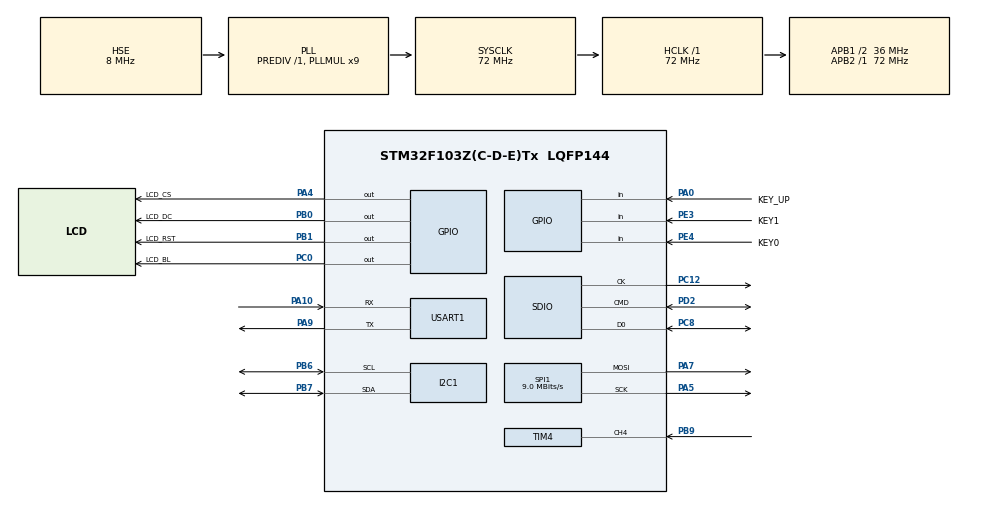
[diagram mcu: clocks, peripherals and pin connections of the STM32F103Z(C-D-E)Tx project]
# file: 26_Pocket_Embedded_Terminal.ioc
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FATFS._FS_REENTRANT=0
FREERTOS.Queues01=motion_queue,32,20,1,Dynamic,NULL,NULL
FREERTOS.Tasks01=ui_task,24,256,UI_Task,Default,NULL,Dynamic,NULL,NULL;sensor_task,24,256,Sensor_Task,Default,NULL,Dynamic,NULL,NULL;logger_task,32,512,Logger_Task,Default,NULL,Dynamic,NULL,NULL
FREERTOS.configTOTAL_HEAP_SIZE=8192
I2C1.I2C_Mode=I2C_Fast
Mcu.Family=STM32F1
Mcu.Name=STM32F103Z(C-D-E)Tx
Mcu.Package=LQFP144
NVIC.PriorityGroup=NVIC_PRIORITYGROUP_4
NVIC.TIM4_IRQn=true\:5\:0\:false\:false\:true\:true\:true\:true\:true
NVIC.TIM6_IRQn=true\:15\:0\:false\:false\:true\:false\:false\:true\:true
NVIC.TimeBase=TIM6_IRQn
NVIC.TimeBaseIP=TIM6
OSC_IN.Mode=HSE-External-Oscillator
OSC_IN.Signal=RCC_OSC_IN
OSC_OUT.Mode=HSE-External-Oscillator
OSC_OUT.Signal=RCC_OSC_OUT
PA0-WKUP.GPIO_Label=KEY_UP
PA0-WKUP.GPIO_PuPd=GPIO_PULLDOWN
PA0-WKUP.Signal=GPIO_Input
PA10.Mode=Asynchronous
PA10.Signal=USART1_RX
PA13.Mode=Serial_Wire
PA13.Signal=SYS_JTMS-SWDIO
PA14.Mode=Serial_Wire
PA14.Signal=SYS_JTCK-SWCLK
PA4.GPIO_Label=LCD_CS
PA4.PinState=GPIO_PIN_SET
PA4.Signal=GPIO_Output
PA5.Mode=TX_Only_Simplex_Unidirect_Master
PA5.Signal=SPI1_SCK
PA7.Mode=TX_Only_Simplex_Unidirect_Master
PA7.Signal=SPI1_MOSI
PA9.Mode=Asynchronous
PA9.Signal=USART1_TX
PB0.GPIO_Label=LCD_DC
PB0.PinState=GPIO_PIN_SET
PB0.Signal=GPIO_Output
PB1.GPIO_Label=LCD_RST
PB1.PinState=GPIO_PIN_SET
PB1.Signal=GPIO_Output
PB6.Mode=I2C
PB6.Signal=I2C1_SCL
PB7.Mode=I2C
PB7.Signal=I2C1_SDA
PB9.Signal=S_TIM4_CH4
PC0.GPIO_Label=LCD_BL
PC0.Signal=GPIO_Output
PC12.Mode=SD_1_bit
PC12.Signal=SDIO_CK
PC14-OSC32_IN.Mode=LSE-External-Oscillator
PC14-OSC32_IN.Signal=RCC_OSC32_IN
PC15-OSC32_OUT.Mode=LSE-External-Oscillator
PC15-OSC32_OUT.Signal=RCC_OSC32_OUT
PC8.Mode=SD_1_bit
PC8.Signal=SDIO_D0
PD2.Mode=SD_1_bit
PD2.Signal=SDIO_CMD
PE3.GPIO_Label=KEY1
PE3.GPIO_PuPd=GPIO_PULLUP
PE3.Signal=GPIO_Input
PE4.GPIO_Label=KEY0
PE4.GPIO_PuPd=GPIO_PULLUP
PE4.Signal=GPIO_Input
ProjectManager.HeapSize=0x200
ProjectManager.StackSize=0x400
ProjectManager.TargetToolchain=STM32CubeIDE
RCC.AHBFreq_Value=72000000
RCC.APB1CLKDivider=RCC_HCLK_DIV2
RCC.APB1Freq_Value=36000000
RCC.APB1TimFreq_Value=72000000
RCC.APB2Freq_Value=72000000
RCC.APB2TimFreq_Value=72000000
RCC.HCLKFreq_Value=72000000
RCC.PLLMUL=RCC_PLL_MUL9
RCC.PLLSourceVirtual=RCC_PLLSOURCE_HSE
RCC.RTCClockSelection=RCC_RTCCLKSOURCE_LSE
RCC.SYSCLKFreq_VALUE=72000000
RCC.SYSCLKSource=RCC_SYSCLKSOURCE_PLLCLK
RCC.USBFreq_Value=72000000
RTC.Date=5
RTC.Format=RTC_FORMAT_BIN
RTC.Hours=17
RTC.Minutes=10
RTC.Month=RTC_MONTH_SEPTEMBER
RTC.WeekDay=RTC_WEEKDAY_SATURDAY
RTC.Year=26
SDIO.ClockDiv=12
SH.S_TIM4_CH4.0=TIM4_CH4,Input_Capture4_from_TI4
SPI1.BaudRatePrescaler=SPI_BAUDRATEPRESCALER_8
SPI1.CalculateBaudRate=9.0 MBits/s
SPI1.Direction=SPI_DIRECTION_2LINES
SPI1.Mode=SPI_MODE_MASTER
SPI1.VirtualType=VM_MASTER
TIM4.Channel-Input_Capture4_from_TI4=TIM_CHANNEL_4
TIM4.ICFilter_CH4=3
TIM4.Period=9999
TIM4.Prescaler=71
USART1.VirtualMode=VM_ASYNC
VP_FATFS_VS_SDIO.Mode=SDIO
VP_FREERTOS_VS_CMSIS_V2.Mode=CMSIS_V2
VP_RTC_VS_RTC_Activate.Mode=RTC_Enabled
VP_RTC_VS_RTC_Calendar.Mode=RTC_Calendar
VP_SYS_VS_tim6.Mode=TIM6
VP_TIM4_VS_ClockSourceINT.Mode=Internal
board=custom

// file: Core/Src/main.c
/* USER CODE BEGIN Header */
/**
  ******************************************************************************
  * @file           : main.c
  * @brief          : Main program body
  ******************************************************************************
  * @attention
  *
  * Copyright (c) 2026 STMicroelectronics.
  * All rights reserved.
  *
  * This software is licensed under terms that can be found in the LICENSE file
  * in the root directory of this software component.
  * If no LICENSE file comes with this software, it is provided AS-IS.
  *
  ******************************************************************************
  */
/* USER CODE END Header */
#include "main.h"
#include "cmsis_os.h"
#include "fatfs.h"
#include "i2c.h"
#include "rtc.h"
#include "sdio.h"
#include "spi.h"
#include "tim.h"
#include "usart.h"
#include "gpio.h"

/* USER CODE BEGIN Includes */
#include "st7735.h"
#include "ui.h"
#include "storage.h"
#include "mpu6500.h"
#include "remote.h"

#include <stdio.h>
#include <string.h>
/* USER CODE END Includes */

void SystemClock_Config(void);
void MX_FREERTOS_Init(void);

int main(void)
{

  /* MCU Configuration--------------------------------------------------------*/

  /* Reset of all peripherals, Initializes the Flash interface and the Systick. */
  HAL_Init();

  /* Configure the system clock */
  SystemClock_Config();

  /* Initialize all configured peripherals */
  MX_GPIO_Init();
  MX_USART1_UART_Init();
  MX_SPI1_Init();
  MX_RTC_Init();
  MX_SDIO_SD_Init();
  MX_FATFS_Init();
  MX_I2C1_Init();
  MX_TIM4_Init();
  /* USER CODE BEGIN 2 */

	ST7735_Init();

	Remote_Init();

  /* USER CODE END 2 */

  /* Init scheduler */
  osKernelInitialize();

  /* Call init function for freertos objects (in cmsis_os2.c) */
  MX_FREERTOS_Init();

  /* Start scheduler */
  osKernelStart();

  /* We should never get here as control is now taken by the scheduler */

  /* Infinite loop */
  while (1)
  {

  }
}

void SystemClock_Config(void)
{
  RCC_OscInitTypeDef RCC_OscInitStruct = {0};
  RCC_ClkInitTypeDef RCC_ClkInitStruct = {0};
  RCC_PeriphCLKInitTypeDef PeriphClkInit = {0};

  /** Initializes the RCC Oscillators according to the specified parameters
  * in the RCC_OscInitTypeDef structure.
  */
  RCC_OscInitStruct.OscillatorType = RCC_OSCILLATORTYPE_HSE|RCC_OSCILLATORTYPE_LSE;
  RCC_OscInitStruct.HSEState = RCC_HSE_ON;
  RCC_OscInitStruct.HSEPredivValue = RCC_HSE_PREDIV_DIV1;
  RCC_OscInitStruct.LSEState = RCC_LSE_ON;
  RCC_OscInitStruct.HSIState = RCC_HSI_ON;
  RCC_OscInitStruct.PLL.PLLState = RCC_PLL_ON;
  RCC_OscInitStruct.PLL.PLLSource = RCC_PLLSOURCE_HSE;
  RCC_OscInitStruct.PLL.PLLMUL = RCC_PLL_MUL9;
  if (HAL_RCC_OscConfig(&RCC_OscInitStruct) != HAL_OK)
  {
    Error_Handler();
  }

  /** Initializes the CPU, AHB and APB buses clocks
  */
  RCC_ClkInitStruct.ClockType = RCC_CLOCKTYPE_HCLK|RCC_CLOCKTYPE_SYSCLK
                              |RCC_CLOCKTYPE_PCLK1|RCC_CLOCKTYPE_PCLK2;
  RCC_ClkInitStruct.SYSCLKSource = RCC_SYSCLKSOURCE_PLLCLK;
  RCC_ClkInitStruct.AHBCLKDivider = RCC_SYSCLK_DIV1;
  RCC_ClkInitStruct.APB1CLKDivider = RCC_HCLK_DIV2;
  RCC_ClkInitStruct.APB2CLKDivider = RCC_HCLK_DIV1;

  if (HAL_RCC_ClockConfig(&RCC_ClkInitStruct, FLASH_LATENCY_2) != HAL_OK)
  {
    Error_Handler();
  }
  PeriphClkInit.PeriphClockSelection = RCC_PERIPHCLK_RTC;
  PeriphClkInit.RTCClockSelection = RCC_RTCCLKSOURCE_LSE;
  if (HAL_RCCEx_PeriphCLKConfig(&PeriphClkInit) != HAL_OK)
  {
    Error_Handler();
  }
}

void HAL_TIM_PeriodElapsedCallback(TIM_HandleTypeDef *htim)
{
  if (htim->Instance == TIM6)
  {
    HAL_IncTick();
  }
  else if(htim->Instance == TIM4)
  {
      Remote_Handle_Timeout();
  }
}

void Error_Handler(void)
{
  __disable_irq();
  while (1)
  {
  }
}

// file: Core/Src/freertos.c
/* USER CODE BEGIN Header */
/**
  ******************************************************************************
  * File Name          : freertos.c
  * Description        : Code for freertos applications
  ******************************************************************************
  * @attention
  *
  * Copyright (c) 2026 STMicroelectronics.
  * All rights reserved.
  *
  * This software is licensed under terms that can be found in the LICENSE file
  * in the root directory of this software component.
  * If no LICENSE file comes with this software, it is provided AS-IS.
  *
  ******************************************************************************
  */
/* USER CODE END Header */

#include "FreeRTOS.h"
#include "task.h"
#include "main.h"
#include "cmsis_os.h"

/* USER CODE BEGIN Includes */
/* 应用层模块：UI 负责交互，Sensor 产生样本，Logger 消费样本并写入 SD 卡 */
#include "ui.h"
#include "key.h"
#include "stopwatch.h"
#include "sensor.h"
#include "logger.h"
#include "storage.h"
#include "remote.h"
#include "game.h"
#include "settings.h"
#include "rtc.h"
/* USER CODE END Includes */

/* Definitions for ui_task */
osThreadId_t ui_taskHandle;
const osThreadAttr_t ui_task_attributes = {
  .name = "ui_task",
  .stack_size = 256 * 4,
  .priority = (osPriority_t) osPriorityNormal,
};
/* Definitions for sensor_task */
osThreadId_t sensor_taskHandle;
const osThreadAttr_t sensor_task_attributes = {
  .name = "sensor_task",
  .stack_size = 256 * 4,
  .priority = (osPriority_t) osPriorityNormal,
};
/* Definitions for logger_task */
osThreadId_t logger_taskHandle;
const osThreadAttr_t logger_task_attributes = {
  .name = "logger_task",
  .stack_size = 512 * 4,
  .priority = (osPriority_t) osPriorityAboveNormal,
};
/* Definitions for motion_queue */
osMessageQueueId_t motion_queueHandle;
const osMessageQueueAttr_t motion_queue_attributes = {
  .name = "motion_queue"
};

void UI_Task(void *argument);
void Sensor_Task(void *argument);
void Logger_Task(void *argument);

void MX_FREERTOS_Init(void); /* (MISRA C 2004 rule 8.1) */

void MX_FREERTOS_Init(void) {

  /*
   * Sensor_Task 以 100 Hz 产生 motion_sample_t，Logger_Task 异步消费。
   * 队列承接短时间 SD 卡写入造成的延迟，避免 Sensor_Task 被文件系统阻塞。
   */
  /* Create the queue(s) */
  /* creation of motion_queue */
  motion_queueHandle = osMessageQueueNew (32, 20, &motion_queue_attributes);

  /*
   * 三个任务的职责和优先级：
   * UI_Task     ：人机输入、页面绘制和周期更新
   * Sensor_Task ：固定 10 ms 采样
   * Logger_Task ：AboveNormal，及时清空样本队列并独占 FatFs 写入
   */
  /* Create the thread(s) */
  /* creation of ui_task */
  ui_taskHandle = osThreadNew(UI_Task, NULL, &ui_task_attributes);

  /* creation of sensor_task */
  sensor_taskHandle = osThreadNew(Sensor_Task, NULL, &sensor_task_attributes);

  /* creation of logger_task */
  logger_taskHandle = osThreadNew(Logger_Task, NULL, &logger_task_attributes);

}

void UI_Task(void *argument)
{
  /* USER CODE BEGIN UI_Task */

	uint32_t last_clock_tick = 0;
	uint32_t next_repeat_tick = 0;
	ui_action_t held_action = UI_ACTION_NONE;

	uint8_t remote_command;

	uint32_t last_game_tick = 0;
	uint32_t last_rtc_service_tick = 0;

	/* UI 状态只由 UI_Task 修改，其他任务不直接操作页面或显示器 */
	ui_state_t state = {
			.page = UI_PAGE_LAUNCHER,
			.selected_index = 0,
			.first_visible = 0
	};

	ui_state_t previous_state;

	/* 设置为 RAM 内 V1 状态，上电恢复默认速度 */
	Settings_Init();

	UI_Draw(&state);

	/* Infinite loop */
	for(;;)
	{
		ui_action_t current_action;
		ui_action_t action_to_handle = UI_ACTION_NONE;

		/*
		 * 输入优先级：先取红外 ISR 已解码的单次命令；
		 * 没有遥控命令时才扫描实体按键，避免同一轮处理两个动作。
		 */
		remote_command = Remote_Pop_Command();

		if(remote_command != 0)
		{
		    held_action = UI_ACTION_NONE;

		    switch(remote_command)
		    {
		        case 0x46:
		            action_to_handle = UI_ACTION_UP;
		            break;

		        case 0x15:
		            action_to_handle = UI_ACTION_DOWN;
		            break;

		        case 0x40:
		            action_to_handle = UI_ACTION_ENTER;
		            break;

		        case 0x44:
		        	action_to_handle = UI_ACTION_LEFT;
		        	break;

		        case 0x43:
		        	action_to_handle = UI_ACTION_RIGHT;
		        	break;

		        case 0x45:
		        	action_to_handle = UI_ACTION_BACK;
		        	break;

		        default:
		            action_to_handle = UI_ACTION_NONE;
		            break;
		    }
		}
		else
		{
			/* 实体按键：首次按下延时 20 ms 确认，方向键支持长按重复，ENTER 不重复 */
			current_action = Key_Read_Action();

			if(current_action == UI_ACTION_NONE)
			{
				held_action = UI_ACTION_NONE;
			}
			else if(held_action == UI_ACTION_NONE)
			{
				osDelay(20);

				if(Key_Read_Action() == current_action)
				{
					held_action = current_action;
					next_repeat_tick = osKernelGetTickCount() + 400;
					action_to_handle = current_action;
				}
			}
			else if(current_action != held_action)
			{
				held_action = UI_ACTION_NONE;
			}
			else if(current_action != UI_ACTION_ENTER &&
					(int32_t)(osKernelGetTickCount() - next_repeat_tick) >= 0)
			{
				next_repeat_tick = osKernelGetTickCount() + 150;
				action_to_handle = current_action;
			}

		}

		/*
		 * UI_Handle_Action 只修改 state 或应用模块状态；
		 * 返回 1 表示状态已变化，随后按页面和操作类型选择全量或局部刷新。
		 */
		if(action_to_handle != UI_ACTION_NONE)
		{
			previous_state = state;

			if(UI_Handle_Action(&state, action_to_handle) != 0)
			{
				UI_Draw_State_Change(&previous_state, &state, action_to_handle);
			}

			last_clock_tick = osKernelGetTickCount();

			if(previous_state.page != UI_PAGE_GAME && state.page == UI_PAGE_GAME)
			{
				last_game_tick = osKernelGetTickCount();
			}
		}

		/*
		 * STM32F1 的日期由 HAL 软件维护，必须定期读取以推进跨天日期。
		 * 该维护独立于 Clock 页面，避免在其他页面跨天后复位丢失新日期。
		 */
		if(osKernelGetTickCount() - last_rtc_service_tick >= 1000)
		{
			RTC_Service_Date();
			last_rtc_service_tick = osKernelGetTickCount();
		}

		/* 当前页面的周期更新。Game 使用独立节拍，不能被时钟/按键刷新重置。 */
		if(state.page == UI_PAGE_CLOCK &&
		   osKernelGetTickCount() - last_clock_tick >= 1000)
		{
			UI_Update_Clock();
			last_clock_tick = osKernelGetTickCount();
		}
		else if(state.page == UI_PAGE_STOPWATCH &&
				Stopwatch_Is_Running() &&
				osKernelGetTickCount() - last_clock_tick >= 1000)
		{
			UI_Update_Stopwatch();
			last_clock_tick = osKernelGetTickCount();
		}
		else if(state.page == UI_PAGE_MOTION &&
				osKernelGetTickCount() - last_clock_tick >= 250)
		{
			UI_Update_Motion();
			last_clock_tick = osKernelGetTickCount();
		}
		else if(state.page == UI_PAGE_GAME &&
				osKernelGetTickCount() - last_game_tick >=
				Settings_Get_Game_Interval_Ms())
		{
			if(Game_Update() != 0)
			{
				UI_Update_Game();
			}

			last_game_tick = osKernelGetTickCount();
		}

		osDelay(1);
	}

  /* USER CODE END UI_Task */
}

void Sensor_Task(void *argument)
{
  /* USER CODE BEGIN Sensor_Task */
    HAL_StatusTypeDef result;
    uint32_t next_tick;
    sensor_state_t state;
    motion_sample_t sample;
    osStatus_t queue_result;

    next_tick = osKernelGetTickCount();

    /* 传感器未连好或初始化失败时不退出任务，每 100 ms 重试一次 */
    for(;;)
    {
        result = Sensor_Init();

        if(result == HAL_OK)
        {
            break;
        }

        osDelay(100);
    }

    /*
     * 使用绝对节拍保持 10 ms 周期，避免本轮 I2C 耗时累积到下一轮。
     * 该任务只采集和投递样本，不直接调用 FatFs。
     */
    for(;;)
    {
    	next_tick += 10;

        result = Sensor_Update();

        if(result == HAL_OK)
        {
        	Sensor_Get_State(&state);

        	sample.timestamp_ms = osKernelGetTickCount();

        	sample.acc_x = state.acc_x;
        	sample.acc_y = state.acc_y;
        	sample.acc_z = state.acc_z;

        	sample.gyro_x = state.gyro_x;
        	sample.gyro_y = state.gyro_y;
        	sample.gyro_z = state.gyro_z;

        	sample.roll_x100 = (int16_t)(state.roll_deg * 100.0f);
        	sample.pitch_x100 = (int16_t)(state.pitch_deg * 100.0f);

        	/* timeout=0：队列满时宁可记录丢样，不阻塞下一次传感器采样 */
        	queue_result = osMessageQueuePut(motion_queueHandle, &sample, 0, 0);

        	if(queue_result != osOK)
        	{
        		Logger_Notify_Sample_Dropped();
        	}
        }

        osDelayUntil(next_tick);
    }
  /* USER CODE END Sensor_Task */
}

void Logger_Task(void *argument)
{
  /* USER CODE BEGIN Logger_Task */
	motion_sample_t sample;
	osStatus_t result;

  /*
   * 先处理 UI 发来的开始/停止 Thread Flag，再最多等待 10 ms 取一条样本。
   * Logger 是唯一执行 FatFs 写入的任务。
   */
  /* Infinite loop */
	for(;;)
	{
		Logger_Handle_Request();

		result = osMessageQueueGet(motion_queueHandle, &sample, NULL, 10);

		if(result == osOK)
		{
			Logger_Process_Sample(&sample);
		}
	}
  /* USER CODE END Logger_Task */
}
